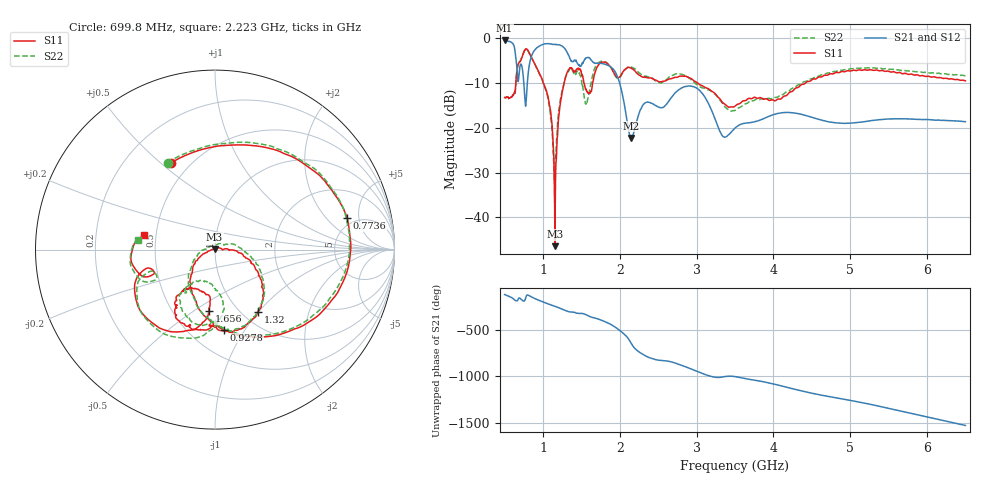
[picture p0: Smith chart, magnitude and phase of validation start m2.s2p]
# Hz S DB R 50
! CMT, S5065, 24347010, 24.3.4/3
! Date: 10/15/2024 10:11:17 PM
! Data: Format (Calibration Info)
! Freq	S11:dB/Ang(F2)	S21:dB/Ang(F2)	S12:dB/Ang(F2)	S22:dB/Ang(F2)
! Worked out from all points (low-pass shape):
!   10001 points, 500 MHz to 6.5 GHz, reference 50 ohm
!   highest |S21| = -0.55 dB at 500 MHz (marker M1); lowest = -22.3 dB at 2.147 GHz (marker M2)
!   |S21| within 3 dB of the highest: start of sweep to 639.9 MHz; 861.2 MHz to 1.326 GHz (464.4 MHz wide, 42.5 % of centre)
!   lowest |S11| = -46.4 dB at 1.155 GHz (marker M3), VSWR 1.01, Z = 49.8 + j0.424 ohm
!   |S11| at or under -10 dB: start of sweep to 645.2 MHz; 1.004 GHz to 1.275 GHz (270.8 MHz wide, 23.8 % of centre); 3.011 GHz to 4.418 GHz (1.407 GHz wide, 37.9 % of centre)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
!   |S22| runs from -32.2 to -2.5 dB; largest |S21 - S12| = 0.0028
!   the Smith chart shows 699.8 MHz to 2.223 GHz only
!   S11 on the Smith chart (normalised r, x): 699.8 MHz: 0.40, +0.54; 773.6 MHz: 4.27, +3.49; 927.8 MHz: 0.72, -0.81; 1.32 GHz: 1.18, -0.99; 1.656 GHz: 0.74, -0.58; 2.223 GHz: 0.43, +0.08
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5e8  -13.27 -30.9  -0.55 -123.6  -0.55 -123.5  -13.30 -33.3
6.41e8  -11.18 -98.3  -3.73 171.7  -3.73 171.8  -11.48 -104.8
6.998e8  -5.32 117.0  -6.30 -162.7  -6.30 -162.6  -5.16 118.6
7.736e8  -2.42 13.3  -15.20 -160.1  -15.19 -160.0  -2.48 17.3
8.384e8  -3.96 -43.7  -4.68 -143.7  -4.66 -143.7  -3.93 -40.3
9.278e8  -6.98 -83.8  -2.05 -178.8  -2.04 -178.7  -7.03 -83.0
1.0796e9  -14.54 -133.5  -1.28 132.7  -1.28 132.8  -15.03 -140.2
1.1552e9  -46.42 117.0  -1.44 110.4  -1.44 110.4  -31.80 75.3
1.3196e9  -7.53 -55.5  -3.35 57.0  -3.35 57.0  -7.83 -53.4
1.5002e9  -7.79 -123.4  -6.07 35.0  -6.06 35.0  -9.31 -125.3
1.5674e9  -11.85 -123.3  -4.39 17.4  -4.38 17.5  -14.32 -100.3
1.6562e9  -9.25 -95.5  -5.46 -11.5  -5.45 -11.4  -7.62 -88.6
1.8848e9  -6.55 -159.1  -6.49 -84.4  -6.48 -84.4  -6.58 -156.6
1.9988e9  -8.67 -158.1  -10.09 -147.4  -10.09 -147.4  -8.83 -153.7
2.147e9  -6.74 180.0  -22.30 76.5  -22.30 76.5  -6.48 -174.1
2.2226e9  -7.86 168.5  -18.31 -0.3  -18.32 -0.3  -7.30 172.6
2.5004e9  -9.68 154.0  -15.38 -105.3  -15.40 -105.5  -9.83 155.2
2.954e9  -9.37 115.4  -10.81 151.8  -10.81 151.4  -9.63 112.5
3.5e9  -15.20 108.5  -20.09 78.1  -20.10 77.6  -16.14 108.8
4.5002e9  -9.32 88.8  -17.68 -99.5  -17.69 -100.1  -9.10 90.4
5.5004e9  -7.41 9.4  -18.07 98.7  -18.11 98.2  -6.97 8.8
6.5e9  -9.56 -67.1  -18.66 -84.6  -18.70 -83.8  -8.43 -67.7
